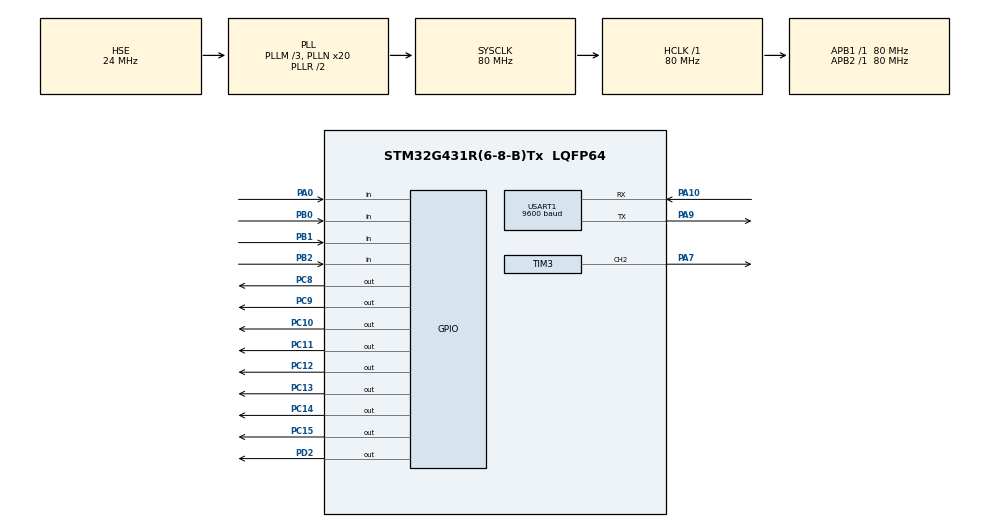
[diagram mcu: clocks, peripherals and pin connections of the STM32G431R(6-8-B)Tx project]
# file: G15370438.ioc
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Mcu.Family=STM32G4
Mcu.Name=STM32G431R(6-8-B)Tx
Mcu.Package=LQFP64
NVIC.PriorityGroup=NVIC_PRIORITYGROUP_4
NVIC.USART1_IRQn=true\:0\:0\:false\:false\:true\:true\:true
PA0.Signal=GPIO_Input
PA10.Mode=Asynchronous
PA10.Signal=USART1_RX
PA7.Signal=S_TIM3_CH2
PA9.Mode=Asynchronous
PA9.Signal=USART1_TX
PB0.Signal=GPIO_Input
PB1.Signal=GPIO_Input
PB2.Signal=GPIO_Input
PC10.PinState=GPIO_PIN_SET
PC10.Signal=GPIO_Output
PC11.PinState=GPIO_PIN_SET
PC11.Signal=GPIO_Output
PC12.PinState=GPIO_PIN_SET
PC12.Signal=GPIO_Output
PC13.PinState=GPIO_PIN_SET
PC13.Signal=GPIO_Output
PC14-OSC32_IN.PinState=GPIO_PIN_SET
PC14-OSC32_IN.Signal=GPIO_Output
PC15-OSC32_OUT.PinState=GPIO_PIN_SET
PC15-OSC32_OUT.Signal=GPIO_Output
PC8.PinState=GPIO_PIN_SET
PC8.Signal=GPIO_Output
PC9.PinState=GPIO_PIN_SET
PC9.Signal=GPIO_Output
PD2.Signal=GPIO_Output
PF0-OSC_IN.Mode=HSE-External-Oscillator
PF0-OSC_IN.Signal=RCC_OSC_IN
PF1-OSC_OUT.Mode=HSE-External-Oscillator
PF1-OSC_OUT.Signal=RCC_OSC_OUT
ProjectManager.HeapSize=0x200
ProjectManager.StackSize=0x400
ProjectManager.TargetToolchain=MDK-ARM V5.27
RCC.ADC12Freq_Value=80000000
RCC.AHBFreq_Value=80000000
RCC.APB1Freq_Value=80000000
RCC.APB1TimFreq_Value=80000000
RCC.APB2Freq_Value=80000000
RCC.APB2TimFreq_Value=80000000
RCC.CortexFreq_Value=80000000
RCC.EXTERNAL_CLOCK_VALUE=12288000
RCC.HCLKFreq_Value=80000000
RCC.HSE_VALUE=24000000
RCC.HSI48_VALUE=48000000
RCC.HSI_VALUE=16000000
RCC.PLLM=RCC_PLLM_DIV3
RCC.PLLN=20
RCC.PLLSourceVirtual=RCC_PLLSOURCE_HSE
RCC.SYSCLKFreq_VALUE=80000000
RCC.SYSCLKSource=RCC_SYSCLKSOURCE_PLLCLK
RCC.USBFreq_Value=80000000
RCC.VCOOutputFreq_Value=160000000
SH.S_TIM3_CH2.0=TIM3_CH2,PWM Generation2 CH2
TIM3.AutoReloadPreload=TIM_AUTORELOAD_PRELOAD_ENABLE
TIM3.Channel-PWM\ Generation2\ CH2=TIM_CHANNEL_2
TIM3.PeriodNoDither=499
TIM3.Prescaler=79
TIM3.PulseNoDither_2=100
USART1.BaudRate=9600
USART1.VirtualMode-Asynchronous=VM_ASYNC
VP_SYS_VS_DBSignals.Mode=DisableDeadBatterySignals
VP_TIM3_VS_ClockSourceINT.Mode=Internal
board=custom

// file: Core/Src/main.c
/* USER CODE BEGIN Header */
/**
  ******************************************************************************
  * @file           : main.c
  * @brief          : Main program body
  ******************************************************************************
  * @attention
  *
  * <h2><center>&copy; Copyright (c) 2024 STMicroelectronics.
  * All rights reserved.</center></h2>
  *
  * This software component is licensed by ST under BSD 3-Clause license,
  * the "License"; You may not use this file except in compliance with the
  * License. You may obtain a copy of the License at:
  *                        opensource.org/licenses/BSD-3-Clause
  *
  ******************************************************************************
  */
/* USER CODE END Header */
#include "main.h"
#include "tim.h"
#include "usart.h"
#include "gpio.h"

/* USER CODE BEGIN Includes */
#include "lcd.h"
#include <stdio.h>
#include <string.h>
#include "led.h"
/* USER CODE END Includes */

/* USER CODE BEGIN PTD */
typedef enum
{
	Key_Check,
	Key_Press,
	Key_Release,
	Key_Over
}Key_State;
/* USER CODE END PTD */

/* USER CODE BEGIN PD */
#define K1 HAL_GPIO_ReadPin(GPIOB, GPIO_PIN_0)
#define K2 HAL_GPIO_ReadPin(GPIOB, GPIO_PIN_1)
#define K3 HAL_GPIO_ReadPin(GPIOB, GPIO_PIN_2)
#define K4 HAL_GPIO_ReadPin(GPIOA, GPIO_PIN_0)

#define Press   GPIO_PIN_RESET
#define Release GPIO_PIN_SET
/* USER CODE END PD */

/* USER CODE BEGIN PM */
struct a
{
	uint8_t Year;
	uint8_t Month;
	uint8_t Date;
	uint8_t Hour;
	uint8_t Minute;
	uint8_t Second;
};
/* USER CODE END PM */

/* USER CODE BEGIN PV */
uint8_t Str[20];
uint8_t RX[22] = "XNBR:XXXX:YYMMDDHHmmSS";
Key_State KeyState = Key_Check;
uint8_t KeyNum;
uint16_t Key_Press_Time = 20;
uint8_t ShowSelect, Flag_K4;
uint16_t Count_CNBR, Count_VNBR, IDLE = 8;
float Fee_CNBR = 3.5f, Fee_VNBR = 2.0f;
uint8_t  Car[8][4], Car_Count, i, j, Flag_Break;
struct a info_In[100];
/* USER CODE END PV */

void SystemClock_Config(void);
/* USER CODE BEGIN PFP */
void Key_Scan(void);
/* USER CODE END PFP */

/* USER CODE BEGIN 0 */
void HAL_UART_RxCpltCallback(UART_HandleTypeDef * huart)
{
	for(i = 0; i < 8; i++)
	{
		for(j = 0; j < 4; j++)
		{
			if(RX[5 + j] == Car[i][j])
			{
				if(j == 3)
				{
					//出停车场
					Car_Count--;
					IDLE ++;
					Flag_Break = 1;

					if(RX[0] == 'V')
					{
						Count_VNBR --;
					}
					else if(RX[0] == 'C')
					{
						Count_CNBR --;
					}
					Car[i][j] = ' ';
					Car[i][j - 1] = ' ';
					Car[i][j - 2] = ' ';
					break;
				}
				continue;
			}
			if(i == 7 && j == 3)
			{
				//进停车场,新车
				IDLE --;
				Car_Count++;

				if(RX[0] == 'V')
				{
					Count_VNBR ++;
				}
				else if(RX[0] == 'C')
				{
					Count_CNBR ++;
				}
				Car[Car_Count - 1][0] = RX[5];
				Car[Car_Count - 1][1] = RX[6];
				Car[Car_Count - 1][2] = RX[7];
				Car[Car_Count - 1][3] = RX[8];

				info_In[Car_Count - 1].Year = (RX[10] - 48) * 10 + (RX[11] - 48);//存时间
				info_In[Car_Count - 1].Month = (RX[12] - 48) * 10 + (RX[13] - 48);
				info_In[Car_Count - 1].Date = (RX[14] - 48) * 10 + (RX[15] - 48);
				info_In[Car_Count - 1].Hour = (RX[16] - 48) * 10 + (RX[17] - 48);
				info_In[Car_Count - 1].Minute = (RX[18] - 48) * 10 + (RX[19] - 48);
				info_In[Car_Count - 1].Second = (RX[20] - 48) * 10 + (RX[21] - 48);
			}
		}
		if(Flag_Break == 1)
		{
			Flag_Break = 0;
			break;
		}
	}
	HAL_UART_Transmit_IT(&huart1, (uint8_t *)RX, 22);
	HAL_UART_Receive_IT(&huart1, RX, 22);
}
/* USER CODE END 0 */

int main(void)
{

  /* MCU Configuration--------------------------------------------------------*/

  /* Reset of all peripherals, Initializes the Flash interface and the Systick. */
  HAL_Init();

  /* Configure the system clock */
  SystemClock_Config();

  /* Initialize all configured peripherals */
  MX_GPIO_Init();
  MX_TIM3_Init();
  MX_USART1_UART_Init();
  /* USER CODE BEGIN 2 */
  LED_Init();

  LCD_Init();
  LCD_Clear(Black);
  LCD_SetBackColor(Black);
  LCD_SetTextColor(White);

  HAL_UART_Receive_IT(&huart1, RX, 22);

  HAL_TIM_PWM_Start_IT(&htim3, TIM_CHANNEL_2);
  __HAL_TIM_CLEAR_IT(&htim3, TIM_CHANNEL_2);
  __HAL_TIM_SetAutoreload(&htim3, 500);//2KHZ

  /* USER CODE END 2 */

  /* Infinite loop */
  /* USER CODE BEGIN WHILE */
  while (1)
  {
	  if(KeyState == Key_Over)
	  {
		  KeyState = Key_Check;
		  if(KeyNum == 1)
		  {
			  ShowSelect = !ShowSelect;
		  }
		  else if(KeyNum == 2)
		  {
			  if(ShowSelect == 1)
			  {
				  Fee_CNBR += 0.5f;
				  Fee_VNBR += 0.5f;
			  }
		  }
		  else if(KeyNum == 3)
		  {
			  if(ShowSelect == 1)
			  {
				  Fee_CNBR -= 0.5f;
				  Fee_VNBR -= 0.5f;
			  }
		  }
		  else if(KeyNum == 4)
		  {
			  Flag_K4 = !Flag_K4;
			  if(Flag_K4 == 0)
			  {
				  LED_OFF(2);
				  __HAL_TIM_SET_COMPARE(&htim3, TIM_CHANNEL_2, 0);
			  }
			  else
			  {
				  LED_ON(2);
				  __HAL_TIM_SET_COMPARE(&htim3, TIM_CHANNEL_2, 100);
			  }
		  }
		  Key_Press_Time = 0;
	  }

	sprintf((char *)Str, "Year:%d", info[0].Year);
	LCD_DisplayStringLine(Line8, (uint8_t *)Str);

	if(ShowSelect == 0)//车位显示界面
	{
		LCD_DisplayStringLine(Line1, (uint8_t *)"       Data");
		sprintf((char *)Str, "   CNBR:%d", Count_CNBR);
		LCD_DisplayStringLine(Line3, (uint8_t *)Str);
		sprintf((char *)Str, "   VNBR:%d", Count_VNBR);
		LCD_DisplayStringLine(Line5, (uint8_t *)Str);
		sprintf((char *)Str, "   IDLE:%d", IDLE);
		LCD_DisplayStringLine(Line7, (uint8_t *)Str);
	}
	else if(ShowSelect == 1)//费率设置界面
	{
		LCD_DisplayStringLine(Line1, (uint8_t *)"       Para");
		sprintf((char *)Str, "   CNBR:%.2f", Fee_CNBR);
		LCD_DisplayStringLine(Line3, (uint8_t *)Str);
		sprintf((char *)Str, "   VNBR:%.2f", Fee_VNBR);
		LCD_DisplayStringLine(Line5, (uint8_t *)Str);
		LCD_DisplayStringLine(Line7, (uint8_t *)"                  ");
	}

	if(IDLE != 0)LED_ON(1);
	else LED_OFF(1);
    /* USER CODE END WHILE */

  }
}

void SystemClock_Config(void)
{
  RCC_OscInitTypeDef RCC_OscInitStruct = {0};
  RCC_ClkInitTypeDef RCC_ClkInitStruct = {0};
  RCC_PeriphCLKInitTypeDef PeriphClkInit = {0};

  /** Configure the main internal regulator output voltage
  */
  HAL_PWREx_ControlVoltageScaling(PWR_REGULATOR_VOLTAGE_SCALE1);
  /** Initializes the RCC Oscillators according to the specified parameters
  * in the RCC_OscInitTypeDef structure.
  */
  RCC_OscInitStruct.OscillatorType = RCC_OSCILLATORTYPE_HSE;
  RCC_OscInitStruct.HSEState = RCC_HSE_ON;
  RCC_OscInitStruct.PLL.PLLState = RCC_PLL_ON;
  RCC_OscInitStruct.PLL.PLLSource = RCC_PLLSOURCE_HSE;
  RCC_OscInitStruct.PLL.PLLM = RCC_PLLM_DIV3;
  RCC_OscInitStruct.PLL.PLLN = 20;
  RCC_OscInitStruct.PLL.PLLP = RCC_PLLP_DIV2;
  RCC_OscInitStruct.PLL.PLLQ = RCC_PLLQ_DIV2;
  RCC_OscInitStruct.PLL.PLLR = RCC_PLLR_DIV2;
  if (HAL_RCC_OscConfig(&RCC_OscInitStruct) != HAL_OK)
  {
    Error_Handler();
  }
  /** Initializes the CPU, AHB and APB buses clocks
  */
  RCC_ClkInitStruct.ClockType = RCC_CLOCKTYPE_HCLK|RCC_CLOCKTYPE_SYSCLK
                              |RCC_CLOCKTYPE_PCLK1|RCC_CLOCKTYPE_PCLK2;
  RCC_ClkInitStruct.SYSCLKSource = RCC_SYSCLKSOURCE_PLLCLK;
  RCC_ClkInitStruct.AHBCLKDivider = RCC_SYSCLK_DIV1;
  RCC_ClkInitStruct.APB1CLKDivider = RCC_HCLK_DIV1;
  RCC_ClkInitStruct.APB2CLKDivider = RCC_HCLK_DIV1;

  if (HAL_RCC_ClockConfig(&RCC_ClkInitStruct, FLASH_LATENCY_2) != HAL_OK)
  {
    Error_Handler();
  }
  /** Initializes the peripherals clocks
  */
  PeriphClkInit.PeriphClockSelection = RCC_PERIPHCLK_USART1;
  PeriphClkInit.Usart1ClockSelection = RCC_USART1CLKSOURCE_PCLK2;
  if (HAL_RCCEx_PeriphCLKConfig(&PeriphClkInit) != HAL_OK)
  {
    Error_Handler();
  }
}

/* USER CODE BEGIN 4 */
void Key_Scan(void)
{
	switch(KeyState)
	{
		case Key_Check:
		{
			if(K1 == Press || K2 == Press || K3 == Press || K4 == Press)
			{
				KeyState = Key_Press;
			}
		}
		break;
		case Key_Press:
		{
			if(K1 == Press)KeyNum = 1;
			else if(K2 == Press)KeyNum = 2;
			else if(K3 == Press)KeyNum = 3;
			else if(K4 == Press)KeyNum = 4;
			KeyState = Key_Release;
		}
		break;
		case Key_Release:
		{
			if(K1 == Press || K2 == Press || K3 == Press || K4 == Press)
			{
				Key_Press_Time += 10;
			}
			else
			{
				KeyState = Key_Over;
			}
		}
		break;
		default:
		break;
	}
}

/* USER CODE END 4 */

void Error_Handler(void)
{
  __disable_irq();
  while (1)
  {
  }
}

/************************ (C) COPYRIGHT STMicroelectronics *****END OF FILE****/
